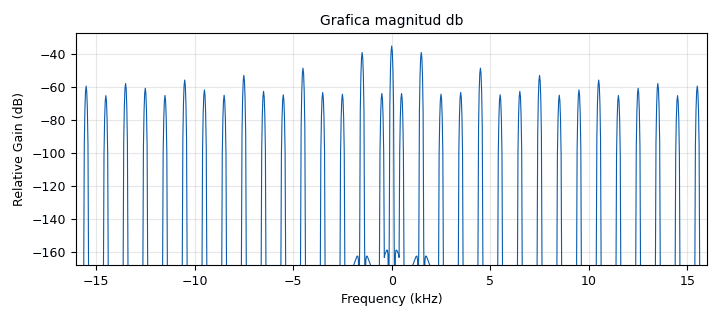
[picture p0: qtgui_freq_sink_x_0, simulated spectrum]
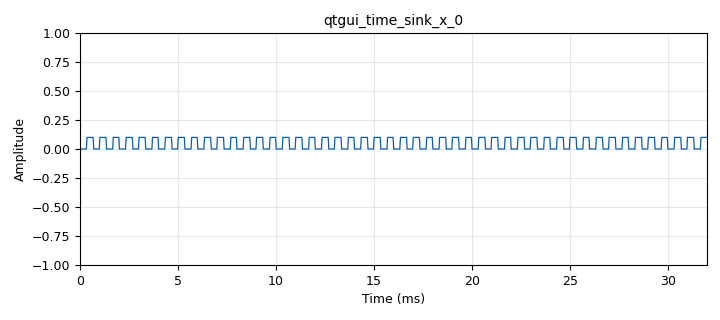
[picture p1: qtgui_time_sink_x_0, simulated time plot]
options:
  parameters:
    generate_options: qt_gui
    id: Lab_I_Comu
    output_language: python
    title: Primer laboratorio Comu
  states: {}

blocks:
- name: Amp
  id: variable_qtgui_range
  parameters:
    start: '0'
    step: '1'
    stop: '5'
    value: '0'
  states: {state: disabled}
- name: amp
  id: variable
  parameters:
    value: '0.1'
  states: {}
- name: frecuency
  id: variable
  parameters:
    value: '1500'
  states: {}
- name: frecuency
  id: variable_qtgui_range
  parameters:
    start: '-samp_rate/2'
    step: '100'
    stop: samp_rate/2
    value: '0'
  states: {state: disabled}
- name: samp_rate
  id: variable
  parameters:
    value: '32000'
  states: {}
- name: analog_sig_source_x_0
  id: analog_sig_source_x
  parameters:
    amp: amp
    freq: frecuency
    offset: '0'
    phase: '0'
    samp_rate: samp_rate
    type: float
    waveform: analog.GR_SQR_WAVE
  states: {}
- name: blocks_throttle_0
  id: blocks_throttle
  parameters:
    samples_per_second: samp_rate
    type: float
  states: {}
- name: qtgui_freq_sink_x_0
  id: qtgui_freq_sink_x
  parameters:
    autoscale: 'True'
    bw: samp_rate
    fc: '0'
    fftsize: '1024'
    name: '"Grafica magnitud db"'
    type: float
  states: {}
- name: qtgui_time_sink_x_0
  id: qtgui_time_sink_x
  parameters:
    size: '1024'
    srate: samp_rate
    type: float
  states: {}

connections:
- [analog_sig_source_x_0, '0', blocks_throttle_0, '0']
- [blocks_throttle_0, '0', qtgui_freq_sink_x_0, '0']
- [blocks_throttle_0, '0', qtgui_time_sink_x_0, '0']

metadata:
  file_format: 1
  grc_version: 3.9.8.0
